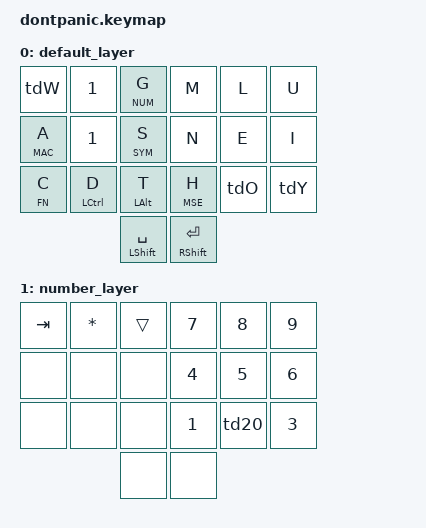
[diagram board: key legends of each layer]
/*
 * Copyright (c) 2024 miketronic
 * SPDX-License-Identifier: MIT
 * DontPanic
 */
 
#include <behaviors.dtsi>
#include <dt-bindings/zmk/keys.h>
#include <dt-bindings/zmk/outputs.h>
#include <dt-bindings/zmk/mouse.h>

#define DEF         0
#define NUM         1

#define SFTENT &mt RSHIFT RET
#define SFTSPC &mt LSHIFT SPC
#define CPST &cccv LC(C) LC(V)
#define CLIP &kp LC(LA(Q))
#define GSHT &kp LC(LA(G))

#define MIN   &kp MINUS
#define BSP   &kp BSPC
#define UNDR  &kp UNDER
#define NNN   &none

#define MM_U &mmv MOVE_UP
#define MM_D &mmv MOVE_DOWN
#define MM_R &mmv MOVE_RIGHT
#define MM_L &mmv MOVE_LEFT

#define MS_U &msc MOVE_UP
#define MS_D &msc MOVE_DOWN
#define MS_R &msc MOVE_RIGHT
#define MS_L &msc MOVE_LEFT

#define MCK  &mkp MCLK  
#define RCK  &mkp RCLK  
#define LCK  &mkp LCLK 


&mt {
    tapping-term-ms = <160>;
};

&lt {
    tapping-term-ms = <150>;
};

/ {
    combos {

        compatible = "zmk,combos";
        combo_q {
            timeout-ms = <50>;
            key-positions = <0 1>;
            bindings = <&kp Q>;
        };

        compatible = "zmk,combos";
        combo_b {
            timeout-ms = <50>;
            key-positions = <1 2>;
            bindings = <&kp B>;
        };

        compatible = "zmk,combos";
        combo_j {
            timeout-ms = <50>;
            key-positions = <3 4>;
            bindings = <&kp J>;
        };

        compatible = "zmk,combos";
        combo_bspc {
            timeout-ms = <50>;
            key-positions = <4 5>;
            bindings = <&kp BSPC>;
        };

        compatible = "zmk,combos";
        combo_v {
            timeout-ms = <50>;
            key-positions = <6 7>;
            bindings = <&kp V>;
        };

        compatible = "zmk,combos";
        combo_p {
            timeout-ms = <50>;
            key-positions = <7 8>;
            bindings = <&kp P>;
        };

        compatible = "zmk,combos";
        combo_k {
            timeout-ms = <50>;
            key-positions = <9 10>;
            bindings = <&kp K>;
        };

        compatible = "zmk,combos";
        combo_excl {
            timeout-ms = <50>;
            key-positions = <10 11>;
            bindings = <&kp EXCL>;
        };

        compatible = "zmk,combos";
        combo_z {
            timeout-ms = <50>;
            key-positions = <12 13>;
            bindings = <&kp Z>;
        };

        compatible = "zmk,combos";
        combo_x {
            timeout-ms = <50>;
            key-positions = <13 14>;
            bindings = <&kp X>;
        };

        compatible = "zmk,combos";
        combo_qmark {
            timeout-ms = <50>;
            key-positions = <16 17>;
            bindings = <&kp QMARK>;
        };
    };

    behaviors {

        bkt: tap_dance_bracket {
            compatible = "zmk,behavior-tap-dance";
            #binding-cells = <0>;
            tapping-term-ms = <200>;
            bindings = <&kp LBKT>, <&kp RBKT>;
        };

        cln: tap_dance_colon {
            compatible = "zmk,behavior-tap-dance";
            #binding-cells = <0>;
            tapping-term-ms = <200>;
            bindings = <&kp COLON>, <&kp SEMI>;
        };

        par: tap_dance_paren {
            compatible = "zmk,behavior-tap-dance";
            #binding-cells = <0>;
            tapping-term-ms = <200>;
            bindings = <&kp LPAR>, <&kp RPAR>;
        };

        thn: tap_dance_then {
            compatible = "zmk,behavior-tap-dance";
            #binding-cells = <0>;
            tapping-term-ms = <200>;
            bindings = <&kp LT>, <&kp GT>;
        };

        qot: tap_dance_quote {
            compatible = "zmk,behavior-tap-dance";
            #binding-cells = <0>;
            tapping-term-ms = <200>;
            bindings = <&kp SQT>, <&kp DQT>;
        };

        sls: tap_dance_slash {
            compatible = "zmk,behavior-tap-dance";
            #binding-cells = <0>;
            tapping-term-ms = <200>;
            bindings = <&kp FSLH>, <&kp BSLH>;
        };

        pipe: tap_dance_pipe {
            compatible = "zmk,behavior-tap-dance";
            #binding-cells = <0>;
            tapping-term-ms = <200>;
            bindings = <&kp PIPE>, <&kp AMPS>;
        };

        at: tap_dance_at {
            compatible = "zmk,behavior-tap-dance";
            #binding-cells = <0>;
            tapping-term-ms = <200>;
            bindings = <&kp AT>, <&kp HASH>;
        };

        grtl: tap_dance_gravetilde {
            compatible = "zmk,behavior-tap-dance";
            #binding-cells = <0>;
            tapping-term-ms = <200>;
            bindings = <&kp GRAVE>, <&kp TILDE>;
        };

        perc: tap_dance_perc {
            compatible = "zmk,behavior-tap-dance";
            #binding-cells = <0>;
            tapping-term-ms = <200>;
            bindings = <&kp PRCNT>, <&kp DLLR>;
        };

        pg: tap_dance_pg {
            compatible = "zmk,behavior-tap-dance";
            #binding-cells = <0>;
            tapping-term-ms = <200>;
            bindings = <&kp PG_DN>, <&kp PG_UP>;
        };

        hmend: tap_dance_hmend {
            compatible = "zmk,behavior-tap-dance";
            #binding-cells = <0>;
            tapping-term-ms = <200>;
            bindings = <&kp END>, <&kp HOME>;
        };

        tdW: tap_dance_W {
            compatible = "zmk,behavior-tap-dance";
            #binding-cells = <0>;
            tapping-term-ms = <180>;
            bindings = <&kp W>, <&kp ESC>;
        };

        tdO: tap_dance_O {
            compatible = "zmk,behavior-tap-dance";
            #binding-cells = <0>;
            tapping-term-ms = <180>;
            bindings = <&kp O>, <&kp COMMA>;
        };

        tdY: tap_dance_Y {
            compatible = "zmk,behavior-tap-dance";
            #binding-cells = <0>;
            tapping-term-ms = <180>;
            bindings = <&kp Y>, <&kp DOT>;
        };

        td20: tap_dance_20 {
            compatible = "zmk,behavior-tap-dance";
            #binding-cells = <0>;
            tapping-term-ms = <200>;
            bindings = <&kp N2>, <&kp N0>;
        };

        cccv: copy_paste {
           compatible = "zmk,behavior-hold-tap";
           label = "tap_dance_copy_paste";
           tapping-term-ms = <200>;
           #binding-cells = <2>;
           flavor = "hold-preferred";
           bindings = <&kp>, <&kp>;
        };

        hrm: homerow_mods {
            compatible = "zmk,behavior-hold-tap";
            label = "tap_dance_hrm";
            #binding-cells = <2>;
            tapping-term-ms = <200>;
            quick-tap-ms = <0>;
            flavor = "tap-preferred";
            bindings = <&kp>, <&kp>;
        };
    };

    macros {
        th: ahk_th {
            compatible = "zmk,behavior-macro";
            #binding-cells = <0>;
            bindings
                = <&macro_tap &kp FSLH &kp FSLH &kp T &kp H>
                ;
        };

        re: ahk_re {
            compatible = "zmk,behavior-macro";
            #binding-cells = <0>;
            bindings
                = <&macro_tap &kp FSLH &kp FSLH &kp R &kp E>
                ;
        };

        yw: ahk_yw {
            compatible = "zmk,behavior-macro";
            #binding-cells = <0>;
            bindings
                = <&macro_tap &kp FSLH &kp FSLH &kp Y &kp W>
                ;
        };

        date: ahk_date {
            compatible = "zmk,behavior-macro";
            #binding-cells = <0>;
            bindings
                = <&macro_tap &kp FSLH &kp FSLH &kp A &kp N1 &kp N1>
                ;
        };

        time: ahk_time {
            compatible = "zmk,behavior-macro";
            #binding-cells = <0>;
            bindings
                = <&macro_tap &kp FSLH &kp FSLH &kp A &kp N1 &kp N2>
                ;
        };

        lines: ahk_lines {
            compatible = "zmk,behavior-macro";
            #binding-cells = <0>;
            bindings
                = <&macro_tap &kp FSLH &kp FSLH &kp A &kp N0 &kp N8>
                ;
        };

        square: ahk_square {
            compatible = "zmk,behavior-macro";
            #binding-cells = <0>;
            bindings
                = <&macro_tap &kp FSLH &kp FSLH &kp A &kp N0 &kp N9>
                ;
        };
    };



    keymap {
        compatible = "zmk,keymap";

        default_layer {
            bindings = <
                &tdW           &kp N1              &lt NUM G          &kp M          &kp L    &kp U
                &lt MAC A      &kp N1              &lt SYM S          &kp N          &kp E    &kp I
                &lt FN C       &hrm LCTRL D       &hrm LALT T        &lt MSE H      &tdO     &tdY
                                                  &mt LSHIFT SPC     &mt RSHIFT RET
            >;
        };

        number_layer {
            bindings = <
                &kp TAB &kp STAR  &trans     &kp N7   &kp N8   &kp N9
                NNN  NNN   NNN               &kp N4   &kp N5   &kp N6
                NNN  NNN   NNN               &kp N1   &td20    &kp N3
                NNN  NNN    
            >;
        };






    };
};
